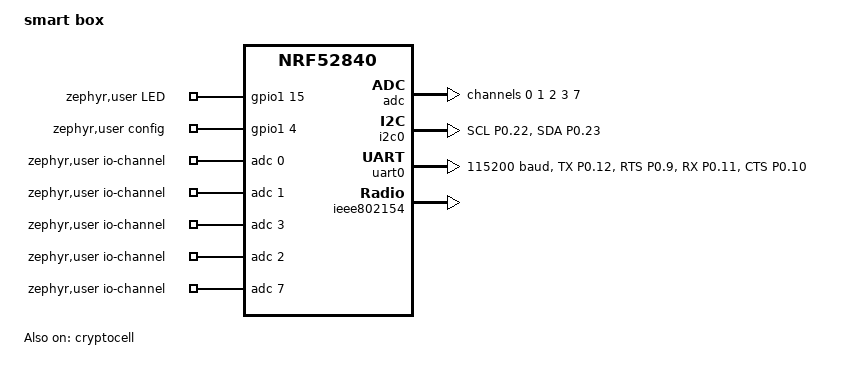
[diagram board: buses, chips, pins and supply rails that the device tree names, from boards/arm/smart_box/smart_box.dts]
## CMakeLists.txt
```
cmake_minimum_required(VERSION 3.20.0)
find_package(Zephyr REQUIRED HINTS $ENV{ZEPHYR_BASE})

project(firm_fsm)

target_sources(app PRIVATE src/main.c)
target_sources(app PRIVATE src/i2c_sensors.c)
target_sources(app PRIVATE src/utils.c)
target_sources(app PRIVATE src/shell_cmd.c)
```

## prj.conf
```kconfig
CONFIG_I2C=y

CONFIG_ADC=y
CONFIG_ADC_ASYNC=y
CONFIG_GPIO=y

CONFIG_FLASH=y
CONFIG_FLASH_PAGE_LAYOUT=y
CONFIG_NVS=y
CONFIG_LOG=y
CONFIG_MPU_ALLOW_FLASH_WRITE=y

CONFIG_BT=y
CONFIG_BT_PERIPHERAL=y
CONFIG_BT_DIS=y
CONFIG_BT_ATT_PREPARE_COUNT=5
CONFIG_BT_DEVICE_NAME="NRF52840"
CONFIG_BT_DEVICE_APPEARANCE=1344
CONFIG_BT_GATT_DYNAMIC_DB=y



CONFIG_MAIN_STACK_SIZE=1024
#CONFIG_NRFX_GPIOTE0=y
CONFIG_NRFX_TWIM0=y
CONFIG_SMF=y
CONFIG_SERIAL=y
CONFIG_CONSOLE=y
CONFIG_UART_CONSOLE=y
CONFIG_UART_ASYNC_API=y
CONFIG_LOG_BACKEND_UART=y
CONFIG_PRINTK=y

#CONFIG_SHELL=y
```

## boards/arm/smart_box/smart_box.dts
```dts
// Copyright (c) 2024 Nordic Semiconductor ASA
// SPDX-License-Identifier: Apache-2.0

/dts-v1/;
#include <nordic/nrf52840_qfaa.dtsi>

/ {
	model = "smart box";
	compatible = "smart-box";

	chosen {
		zephyr,console = &uart0;
		zephyr,shell-uart = &uart0;
		zephyr,uart-mcumgr = &uart0;
		zephyr,bt-mon-uart = &uart0;
		zephyr,bt-c2h-uart = &uart0;
		zephyr,sram = &sram0;
		zephyr,flash = &flash0;
		zephyr,code-partition = &slot0_partition;
		zephyr,ieee802154 = &ieee802154;

	};

	zephyr,user {
		LED-gpios = <&gpio1 15 0>;
		config-gpios = <&gpio1 4 GPIO_PULL_DOWN>;
		io-channels = <&adc 0>, <&adc 1>, <&adc 3>, <&adc 2>, <&adc 7>;
	};
};

&adc {
	#address-cells = <1>;
	#size-cells = <0>;

	status="okay";

	channel@0 {
		reg = <0>;
		zephyr,gain = "ADC_GAIN_1_6";
		zephyr,reference = "ADC_REF_INTERNAL";
		zephyr,acquisition-time = <0>;
		zephyr,input-positive = <NRF_SAADC_AIN0>; /* P0.03 */
		zephyr,resolution = <12>;
	};

	channel@1 {
		reg = <1>;
		zephyr,gain = "ADC_GAIN_1_6";
		zephyr,reference = "ADC_REF_INTERNAL";
		zephyr,acquisition-time = <0>;
		zephyr,input-positive = <NRF_SAADC_AIN1>;
		zephyr,resolution = <14>;
		zephyr,oversampling = <8>;
	};
	
	channel@2 {
		reg = <2>;
		zephyr,gain = "ADC_GAIN_1_6";
		zephyr,reference = "ADC_REF_VDD_1";
		zephyr,acquisition-time = <0>;
		zephyr,input-positive = <NRF_SAADC_AIN2>;
		zephyr,resolution = <14>;
		zephyr,oversampling = <8>;
	};

	channel@3 {
		reg = <3>;
		zephyr,gain = "ADC_GAIN_1_6";
		zephyr,reference = "ADC_REF_INTERNAL";
		zephyr,vref-mv = <750>;
		zephyr,acquisition-time = <0>;
		zephyr,input-positive = <NRF_SAADC_AIN3>; /* P0.30 */
		zephyr,resolution = <12>;
	};

	channel@7 {
		reg = <7>;
		zephyr,gain = "ADC_GAIN_1_6";
		zephyr,reference = "ADC_REF_INTERNAL";
		zephyr,vref-mv = <750>;
		zephyr,acquisition-time = <0>;
		zephyr,input-positive = <NRF_SAADC_VDD>;
		zephyr,resolution = <12>;
	};
};

&flash0 {
	partitions {
		compatible = "fixed-partitions";
		#address-cells = <1>;
		#size-cells = <1>;

		boot_partition: partition@0 {
			label = "mcuboot";
			reg = <0x0 0xc000>;
		};
		slot0_partition: partition@c000 {
			label = "image-0";
			reg = <0xc000 0x77000>;
		};

		storage_partition: storage@83000 {
			reg = <0x83000 0x7d000>;
			label = "section";
		};
	};
};





&gpio0 {
	status = "okay";
};

&gpio1 {
	status = "okay";
};

&i2c0 {
	status = "okay";
	pinctrl-0 = <&i2c0_default>;
	pinctrl-names = "default";
};

&pinctrl {
		


	uart0_default: uart0_default {
		group1 {
			psels = <NRF_PSEL(UART_TX, 0, 12)>,
				<NRF_PSEL(UART_RTS, 0, 9)>;
		};
		group2 {
			psels = <NRF_PSEL(UART_RX, 0, 11)>,
				<NRF_PSEL(UART_CTS, 0, 10)>;
			bias-pull-up;
		};
	};

	i2c0_default: i2c0_default {
		group1 {
			psels = <NRF_PSEL(TWIM_SCL, 0, 22)>, <NRF_PSEL(TWIM_SDA, 0, 23)>;
			bias-pull-up;
		};
	};
};


&uart0 {
	status = "okay";
	pinctrl-0 = <&uart0_default>;
	pinctrl-names = "default";
	current-speed = <115200>;
	compatible = "nordic,nrf-uarte";
};

&ccm {
	status = "disabled";
};

&ecb {
	status = "disabled";
};

&cryptocell {
	status = "okay";
};

&power {
	status = "okay";
};

&gpiote {
	status = "okay";
};

&ieee802154 {
	status = "okay";
};
```

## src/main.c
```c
#include <zephyr/kernel.h>
#include <zephyr/device.h>
#include <zephyr/devicetree.h>
#include <zephyr/drivers/i2c.h>
#include <zephyr/drivers/gpio.h>
#include <zephyr/drivers/adc.h>
#include <zephyr/drivers/uart.h>
#include "includes/i2c_sensors.h"
#include <zephyr/sys/util.h>
#include <zephyr/pm/device.h>



#include <zephyr/drivers/flash.h>
#include <zephyr/storage/flash_map.h>
#include <zephyr/fs/nvs.h>
#include "includes/flash_utils.h"
#include <zephyr/bluetooth/bluetooth.h>
#include <zephyr/bluetooth/bluetooth.h>
#include <zephyr/bluetooth/hci.h>
#include <zephyr/bluetooth/conn.h>
#include <zephyr/bluetooth/gatt.h>
#include <zephyr/bluetooth/uuid.h>
#include <zephyr/smf.h>
#include <zephyr/logging/log.h>
#include "includes/utils.h"



sensor_config first_conf;
sensor_config second_conf;
sensor_config third_conf;
sensor_config forth_conf;
static struct nvs_fs fs;

bool config_done = false;

#include "includes/BLE_conf.h"

#define CHUNK_SIZE 10 //this is the number of bytes to send at a time, it is useed to prevent running out of RAM and subsequent crash/failure to send.

//LOG_MODULE_REGISTER(alog);




/////////////////////////////////////////////////////////////INITS


#define NVS_PARTITION		storage_partition
#define NVS_PARTITION_DEVICE	FIXED_PARTITION_DEVICE(NVS_PARTITION)
#define NVS_PARTITION_OFFSET	FIXED_PARTITION_OFFSET(NVS_PARTITION)






static uint8_t rx_buf[10] = {0}; //A buffer to store incoming UART data
bool recieved = false;


#if !DT_NODE_EXISTS(DT_PATH(zephyr_user)) || \
	!DT_NODE_HAS_PROP(DT_PATH(zephyr_user), io_channels)
#error "No suitable devicetree overlay specified"
#endif

#define DT_SPEC_AND_COMMA(node_id, prop, idx) \
	ADC_DT_SPEC_GET_BY_IDX(node_id, idx),

/* Data of ADC io-channels specified in devicetree. */
static const struct adc_dt_spec adc_channels[] = {
	DT_FOREACH_PROP_ELEM(DT_PATH(zephyr_user), io_channels,
			     DT_SPEC_AND_COMMA)
};
/////////////////////////////////////////////////////////////////
const struct device *uart1 = DEVICE_DT_GET(DT_NODELABEL(uart0));
const struct device *gpio_dev = DEVICE_DT_GET(DT_NODELABEL(gpio0));
const struct device *i2c_dev = DEVICE_DT_GET(DT_NODELABEL(i2c0));

sensor *first, *second, *third, *forth;

sensor *list[4];










// Forward declaration of state table
static const struct smf_state app_states[];

// List of application states
enum app_state {
    STATE_INIT,
    STATE_READ_SENSORS,
    STATE_WRITE_TO_FLASH,
    STATE_SEND_BLUETOOTH,
    STATE_SLEEP,
    NUM_STATES
};

// User defined object
struct app_object {
    // This must be first
    struct smf_ctx ctx;

    // Other state specific data can be added here
} app_obj;

// Function prototypes for state entry, run, and exit functions
static void state_init_entry(void *o);
static void state_init_run(void *o);
static void state_read_sensors_run(void *o);
static void state_write_to_flash_run(void *o);
static void state_send_bluetooth_run(void *o);
static void state_sleep_entry(void *o);


struct flash_pages_info info;
uint8_t write_buff = 0;
uint8_t rtc_data[7] = {0};


static bt_addr_le_t custom_mac = {
	.a = (bt_addr_t) {0x01, 0x02, 0x03, 0x04, 0x05, 0x06},
	.type = BT_ADDR_LE_RANDOM
};

static void state_init_entry(void *o) {

	sensor_svc = (struct bt_gatt_service) BT_GATT_SERVICE(
		svc_config
	);

    int reg_err = bt_gatt_service_register(&sensor_svc);
	printk("%d", reg_err);


	k_sleep(K_MSEC(1000));



	int err;



	first = configure_sensor(&first_conf);
	second = configure_sensor(&second_conf);
	third = configure_sensor(&third_conf);
	forth = configure_sensor(&forth_conf);
		
    while(!device_is_ready(i2c_dev))
    {
        printk("device not ready \n");
        k_sleep(K_MSEC(100));
    }

	
	err = bt_enable(NULL);
	if (err) {
		printk("Bluetooth init failed (err %d)\n", err);
	}

	bt_id_create(&custom_mac, NULL);

	bt_ready();

	list[0] = first;
	list[1] = second;
	list[2] = third;
	list[3] = forth;

	// Transition to the next state
	smf_set_state(SMF_CTX(o), &app_states[STATE_READ_SENSORS]);
}

static void state_init_run(void *o) {
    // Transition to the next state
	k_sleep(K_SECONDS(1));
    smf_set_state(SMF_CTX(o), &app_states[STATE_READ_SENSORS]);
}

static void state_read_sensors_run(void *o) {
    int err;
	// Read sensor data
    // Transition to the next state
	err = read_sensor(i2c_dev, third, adc_channels);
	if(err){
		printk("Failed to read sensor data\n");
	}
	printk("value from GPIO sensor: %d\n", *( (int32_t *)third->values));
	write_data_fs(&fs, third);
	k_sleep(K_SECONDS(1));

	err = read_sensor(i2c_dev, first, adc_channels);
	write_data_fs(&fs, first);
	k_sleep(K_SECONDS(1));

	err = read_sensor(i2c_dev, second, adc_channels);
	write_data_fs(&fs, second);
	k_sleep(K_SECONDS(1));

	err = read_sensor(i2c_dev, forth, adc_channels);
	write_data_fs(&fs, forth);
	k_sleep(K_SECONDS(1));

    smf_set_state(SMF_CTX(o), &app_states[STATE_WRITE_TO_FLASH]);
}

static void state_write_to_flash_run(void *o) {
    // Write sensor data to flash
    // Transition to the next state
	//printk("hello from flash run state\n");
	if(connected_check && notif_enabled) smf_set_state(SMF_CTX(o), &app_states[STATE_SEND_BLUETOOTH]);
	else smf_set_state(SMF_CTX(o), &app_states[STATE_SLEEP]);
}


static void state_send_bluetooth_run(void *o) {
    // Send data through Bluetooth

	for(uint8_t i = 0; i<4; i++ ){
    size_t total_reads = list[i]->sucessful_read;
    size_t chunks = (total_reads + CHUNK_SIZE - 1) / CHUNK_SIZE;
    struct flash_entery *data = malloc(CHUNK_SIZE * sizeof(struct flash_entery));

    if (data == NULL) {
        printk("Failed to allocate memory\n");
        smf_set_state(SMF_CTX(o), &app_states[STATE_SLEEP]);
        return;
    }

    for (size_t chunk_idx = 0; chunk_idx < chunks; chunk_idx++) {
        // Calculate the number of entries to read in this chunk
		

        size_t entries_to_read = CHUNK_SIZE;
        if (chunk_idx == chunks - 1 && total_reads % CHUNK_SIZE != 0) {
            entries_to_read = total_reads % CHUNK_SIZE;
        }

        // Read the chunk from flash
        read_history_into(&fs, list[i], data, chunk_idx * CHUNK_SIZE, entries_to_read);

        // Send each entry in the chunk over BLE
			for (size_t i = 0; i < entries_to_read; i++) {
				printk("Data values: %d\n", data[i].value);
				int err = bt_gatt_notify(NULL, &sensor_svc.attrs[1], &data[i], sizeof(struct flash_entery));
				if (err < 0) {
					printk("Failed to send data over BLE connection (err %d)\n", err);
					smf_set_state(SMF_CTX(o), &app_states[STATE_SLEEP]);
					free(data);
					return;
				}
			}
		}
		
    free(data);
    list[i]->sucessful_read = 0;
		//delete_entries_with_id(&fs, third->config._id);
    }
    smf_set_state(SMF_CTX(o), &app_states[STATE_SLEEP]);
}

static void state_sleep_entry(void *o) {

	k_sleep(K_SECONDS(3));
    // Implement logic to wake up from sleep
    // Transition to the initial state to repeat the cycle
    smf_set_state(SMF_CTX(o), &app_states[STATE_READ_SENSORS]);
}

// Populate state table
static const struct smf_state app_states[] = {
    [STATE_INIT] = SMF_CREATE_STATE(state_init_entry, state_init_run, NULL),
    [STATE_READ_SENSORS] = SMF_CREATE_STATE(NULL, state_read_sensors_run, NULL),
    [STATE_WRITE_TO_FLASH] = SMF_CREATE_STATE(NULL, state_write_to_flash_run, NULL),
    [STATE_SEND_BLUETOOTH] = SMF_CREATE_STATE(NULL, state_send_bluetooth_run, NULL),
    [STATE_SLEEP] = SMF_CREATE_STATE(state_sleep_entry, NULL, NULL),
};

struct bt_gatt_service config_serv = BT_GATT_SERVICE(svc_config);

int main(void) {
    int32_t ret;

	NRF_P1->PIN_CNF[4] = (GPIO_PIN_CNF_DIR_Input << GPIO_PIN_CNF_DIR_Pos) |
						(GPIO_PIN_CNF_INPUT_Connect << GPIO_PIN_CNF_INPUT_Pos) |
						(GPIO_PIN_CNF_PULL_Disabled << GPIO_PIN_CNF_PULL_Pos) |
						(GPIO_PIN_CNF_DRIVE_S0S1 << GPIO_PIN_CNF_DRIVE_Pos) |
						(GPIO_PIN_CNF_SENSE_Disabled << GPIO_PIN_CNF_SENSE_Pos);

	first_conf.flash_id = 1;
	second_conf.flash_id = 2;
	third_conf.flash_id = 3;
	forth_conf.flash_id = 4;

	fs.flash_device = NVS_PARTITION_DEVICE;
	if (!device_is_ready(fs.flash_device)) {
		printk("Flash device %s is not ready\n", fs.flash_device->name);
		return ;
	}
	fs.offset = NVS_PARTITION_OFFSET;
	int rc = flash_get_page_info_by_offs(fs.flash_device, fs.offset, &info);
	if (rc) {
		printk("Unable to get page info\n");
		return ;
	}
	fs.sector_size = info.size;
	fs.sector_count = 500 * 1024 / fs.sector_size;

	rc = nvs_mount(&fs);
	if (rc) {
		printk("Flash Init failed\n");
		return ;
	}

	k_sleep(K_SECONDS(1));


	if(NRF_P1->IN & (1 << 4))
	{
		int err;
		
		bt_gatt_service_register(&config_serv);
		if(err)
			printk("error during registring of the service");
		printk("entering configuration mode\n");
			//accept configuration from BLE
	
		k_sleep(K_SECONDS(1));
		err = bt_enable(NULL);
		if (err) {
			printk("Bluetooth init failed (err %d)\n", err);
			return;
		}
		k_sleep(K_SECONDS(1));

		


		struct bt_le_adv_param adv_param = {
			.options = BT_LE_ADV_OPT_CONNECTABLE | BT_LE_ADV_OPT_USE_NAME,
			.interval_min = BT_GAP_ADV_SLOW_INT_MIN,
			.interval_max = BT_GAP_ADV_SLOW_INT_MAX,
			.id = BT_ID_DEFAULT,
			.sid = 0,
			.peer = NULL,
		};



		err = bt_le_adv_start(&adv_param, ad_conf, ARRAY_SIZE(ad), NULL, 0);
		if (err) {
			printk("Advertising failed to start (err %d)\n", err);
			return;
		}
		k_sleep(K_SECONDS(1));

		printk("configuration ongoing\n");

		while(!config_done)
		{
			k_sleep(K_MSEC(300));
		}
		printk("configuration done\n");
		printk("writing config to fs\n");
		sensor_config *array[] = 
			{&first_conf, &second_conf, &third_conf, &forth_conf};
		printk("first:\n\t id: %d\n\t address: %d\n\t reg_addr: %d %d\n\t Pin: %d\n", first_conf._id, first_conf.adress, first_conf.reg_addr[0], first_conf.reg_addr[1], first_conf.Pin);
		for (size_t k = 0; k < 4; k++)
		{
			if(nvs_write(&fs, array[k]->flash_id, array[k], sizeof(sensor_config))<0)
				printk("failed to write config to flash\n");
		}

		return 0;
	}


	//read config from flash:
	sensor_config *array[] = 
		{&first_conf, &second_conf, &third_conf, &forth_conf};

	for(int i = 0; i<4; i++){
		if(nvs_read(&fs, array[i]->flash_id, array[i], sizeof(sensor_config))<0)
		{
			printk("not configured, pull pin 1.04 high to enter config mode");
			return -20;
		}
		else{
			printk("config for sensor %d:\n\t addr: %d\n\t type: %d\n\t id: %d\n", i, array[i]->adress, array[i]->type, array[i]->_id);
		}
	}

    //Set initial state
    smf_set_initial(SMF_CTX(&app_obj), &app_states[STATE_INIT]);

    // Run the state machine
    while(1) {
        // State machine terminates if a non-zero value is returned
        ret = smf_run_state(SMF_CTX(&app_obj));
        if (ret) {
            free(first->values);
			free(second->values);
			free(third->values);
			free(forth->values);

			free(first);
			free(second);
			free(third);
			free(forth);
			nvs_clear(&fs);
            break;
        }
    }

    return 0;
}
```

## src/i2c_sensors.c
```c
#include <zephyr/kernel.h>
#include <zephyr/device.h>
#include <zephyr/drivers/i2c.h>
#include <stdlib.h>
#include "includes/i2c_sensors.h"
#include "includes/utils.h"


//TODO: add timestamp reading to each sensor

sensor* configure_sensor(sensor_config *configuration)
{
        if(configuration->type == I2C)
        {
                sensor *new_sensor = (sensor*)malloc(sizeof(sensor));
                new_sensor->sucessful_read = 0;
                new_sensor->config = *configuration;
                new_sensor->values = (int8_t*)malloc(2 * sizeof(uint8_t));
                new_sensor->timestamp = (time_stamp){0};
                return new_sensor;
        }
        else if(configuration->type == GPIO)
        {
                sensor *new_sensor = (sensor *) malloc(sizeof(sensor));
                new_sensor->sucessful_read = 0;
                new_sensor->config = *configuration;
                new_sensor->values = (int32_t*)malloc(sizeof(uint32_t));
                new_sensor->timestamp = (time_stamp) {0};
                return new_sensor;
        }
        
        return NULL;
}

int read_sensor(const void *drivers, sensor *sn, const struct adc_dt_spec channels[])
{
        if(sn->config.type == I2C)
        {
                if(drivers == NULL)
                {
                        
                        return -1;
                }
                for(int i = 0; i < sn->config.num_registers; i++)
                {
                        int err = 0;
                        err = i2c_write(drivers, &sn->config.reg_addr[i], 1, sn->config.adress);
                        if (err < 0 ) return -1;
                        err = i2c_read(drivers, &((uint8_t*)sn->values)[i], 1, sn->config.adress);
                }
                sn->sucessful_read++;
        }
        else if(sn->config.type == GPIO)
        {
                if(drivers == NULL)
                {
                        return -1;
                }
                if(channels == NULL)
                {
                        return -1;
                }
                
                int err;
                int32_t val_mv;
                int16_t raw_val = 0;
                
                struct adc_sequence sequence = {
                        .buffer = &raw_val,
                        /* buffer size in bytes, not number of samples */
                        .buffer_size = sizeof(raw_val),
                };

                err = adc_channel_setup_dt(&channels[sn->config.Pin-2]);
                (void)adc_sequence_init_dt(&channels[sn->config.Pin-2], &sequence);

		if (err < 0) {
                        printk("Could not setup channel #%d (%d)\n", sn->config._id, err);
                        return 0;
		}
                

                err = adc_read_dt(&channels[sn->config.Pin-2], &sequence);
                if (err < 0) {
                        printk("Could not read (%d)\n", err);
                }

                val_mv = (int32_t)(raw_val);

                err = adc_raw_to_millivolts_dt(&channels[sn->config.Pin-2], &val_mv);
                
                ((int32_t*)sn->values)[0] = val_mv;

                sn->sucessful_read++;

        }
        else if(sn->config.type == SPI)
        {
                //!TODO: read the value from the SPI bus
                return 0;
        }
        else if(sn->config.type == UART)
        {
                //!TODO: read the value from the UART bus
                return 0;
        }
        else
        {
                return -1;
        }
        //read_timestamp(drivers, &sn->timestamp);
        sn->timestamp_32 = read_unix_timestamp((struct device *) drivers);
        printk("sn->timestamp_32 = %d\n", sn->timestamp_32);

        return 0;
}
```

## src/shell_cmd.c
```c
#ifdef qvdsfbdg
#include <zephyr/kernel.h>
#include <zephyr/shell/shell.h>
#include <zephyr/device.h>
#include <zephyr/drivers/uart.h>
#include <zephyr/drivers/gpio.h>
#include <stdio.h>
#include <string.h>


static int cmd_devices(const struct shell *shell, size_t argc, char **argv)
{
    shell_print(shell, "got argc = %d", argc);
    if (argc < 12) {
        shell_print(shell, "Usage: devices -i interface -p pin -a i2c_address -id id -r {registers 0 to 4 values}");
        shell_print(shell, "Example: devices -i i2c -p 1 -a 0x50 -id 1 -r 0x10 0x20 0x30 0x40 0x50");
        return -EINVAL;
    }

    const char *interface = NULL;
    uint32_t pin = 0;
    uint32_t i2c_address = 0;
    uint32_t id = 0;
    uint32_t registers[5] = {0};

    for (int i = 1; i < argc; i++) {
        if (strcmp(argv[i], "-i") == 0 && i + 1 < argc) {
            interface = argv[++i];
        } else if (strcmp(argv[i], "-p") == 0 && i + 1 < argc) {
            pin = strtoul(argv[++i], NULL, 10);
        } else if (strcmp(argv[i], "-a") == 0 && i + 1 < argc) {
            i2c_address = strtoul(argv[++i], NULL, 16);
        } else if (strcmp(argv[i], "-id") == 0 && i + 1 < argc) {
            id = strtoul(argv[++i], NULL, 10);
        } else if (strcmp(argv[i], "-r") == 0 && i + 3 < argc) {
            for (int j = 0; j < 5; j++) {
                registers[j] = strtoul(argv[++i], NULL, 16);
            }
        } else {
            shell_print(shell, "Invalid argument: %s", argv[i]);
            return -EINVAL;
        }
    }

    // Handle the device configuration here
    shell_print(shell, "Configuring device:");
    shell_print(shell, "Interface: %s", interface);
    shell_print(shell, "Pin: %d", pin);
    shell_print(shell, "I2C Address: 0x%x", i2c_address);
    shell_print(shell, "ID: %d", id);
    shell_print(shell, "Registers: 0x%x, 0x%x, 0x%x, 0x%x, 0x%x",
                registers[0], registers[1], registers[2], registers[3], registers[4]);

    // Add your device configuration code here

    return 0;
}

SHELL_STATIC_SUBCMD_SET_CREATE(sub_devices,
    SHELL_CMD_ARG(devices, NULL, "Configure device\nUsage: devices -i interface -p pin -a i2c_address -id id -r {registers 0 to 4 values}", cmd_devices, 11, 3),
    SHELL_SUBCMD_SET_END
);

SHELL_CMD_REGISTER(config, &sub_devices, "Device configuration commands", NULL);
#endif
```

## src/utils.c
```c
#include "includes/i2c_sensors.h"
#include <zephyr/kernel.h>
#include <zephyr/device.h>

#include <zephyr/drivers/flash.h>
#include <zephyr/storage/flash_map.h>
#include <zephyr/fs/nvs.h>

#include <stdlib.h>

#include "includes/flash_utils.h"

//TODO: make work with multiple values

int bcd_to_decimal(uint8_t bcd_value) {
    int tens = (bcd_value >> 4) & 0x0F;  // Extract tens digit
    int ones = bcd_value & 0x0F;          // Extract ones digit
    return tens * 10 + ones;             // Convert BCD to decimal
}



void write_data_fs(struct nvs_fs *nvs_dev ,sensor *sn) {
    // Initialize NVS
    struct flash_entery data = 
    {
        .timestamp = sn->timestamp_32,
        .value = *((int16_t*) sn->values),
    };



    // Write sensor_data structure to flash memory
    int err = nvs_write(nvs_dev, sn->config._id, &data, sizeof(struct flash_entery));
    if (err<0) {
        printk("Error writing sensor data to flash (err %d)\n", err);
    }
}

void read_history_into( struct nvs_fs *nvs_dev, sensor *sn, struct flash_entery *readinto, size_t offset, size_t entries_to_read) {
    for (size_t i = 0; i < entries_to_read; i++) {
        size_t entry_index = offset + i;  // Calculate the absolute entry index
        nvs_read_hist(nvs_dev, sn->config._id, &readinto[i], sizeof(struct flash_entery), entry_index);
    }
}



/* time stamp utilities*/


// int8_t read_timestamp(const struct device *i2c_dev, struct time_stamp *readinto)
// {
//         int8_t write_buff = 0x0;
//         uint8_t rtc_data[8];
//         int err = 0;
//         // Read data from RTC
//         err = i2c_write(i2c_dev, &write_buff, 1, 82);

//         printk("1: %d\n", err);

//         if( err < 0 ) return -1;
//         err = i2c_read(i2c_dev, &rtc_data, 7, 82);

//         printk("2: %d\n", err);

//         if(err < 0 ) return -1;

//         printk("RTC Data: %02x:%02x:%02x %02x/%02x/%02x\n", rtc_data[2], rtc_data[1], rtc_data[0], rtc_data[3], rtc_data[4], rtc_data[5]);

//         readinto->sec = rtc_data[0];
//         readinto->min = rtc_data[1];
//         readinto->hour = rtc_data[2];
//         readinto->year = rtc_data[6];
//         readinto->date = rtc_data[4];
//         readinto->month = rtc_data[5];





        
//         return 0;
// }


int8_t get_timestamp(struct device *i2c_dev, uint8_t *readinto)
{
        
        if(!device_is_ready(i2c_dev))
        {
                printk("I2C device is not ready\n");
                return -1;
        }
        int err = 0;
        int8_t write_buff = 0x1B;
        uint8_t timestamp_data[4];
        
        
        err = i2c_write(i2c_dev, &write_buff, 1, 82);
        
        err = i2c_read(i2c_dev, timestamp_data, 4, 82);

        *readinto = (timestamp_data[0] |
                         (timestamp_data[1] << 8) |
                         (timestamp_data[2] << 16) |
                         (timestamp_data[3] << 24));
        return 0;
}

uint32_t read_unix_timestamp(struct device *i2c_dev)
{
    uint8_t reg = 0x1B;
    uint8_t timestamp_data[4]; // 4 bytes for the 32-bit Unix timestamp

    // Write the register address to read from
    if (i2c_write_read(i2c_dev, 82, &reg, 1, timestamp_data, sizeof(timestamp_data)) < 0) {
        printk("Failed to read timestamp from RTC\n");
        return 0;
    }

    // Convert the 4 bytes to a 32-bit Unix timestamp
    uint32_t timestamp = (timestamp_data[0] |
                         (timestamp_data[1] << 8) |
                         (timestamp_data[2] << 16) |
                         (timestamp_data[3] << 24));

    return timestamp;
}

void delete_entries_with_id(struct nvs_fs *fs, uint16_t target_id)
{
    int rc;

    while (true) {
        rc = nvs_delete(fs, target_id);
        if (rc == -ENOENT) {
            break; // No more entries with this ID
        } else if (rc) {
            printk("Failed to delete entry with ID %d: %d\n", target_id, rc);
            break;
        } else {
            printk("Deleted entry with ID %d\n", target_id);
        }
    }
}
```
